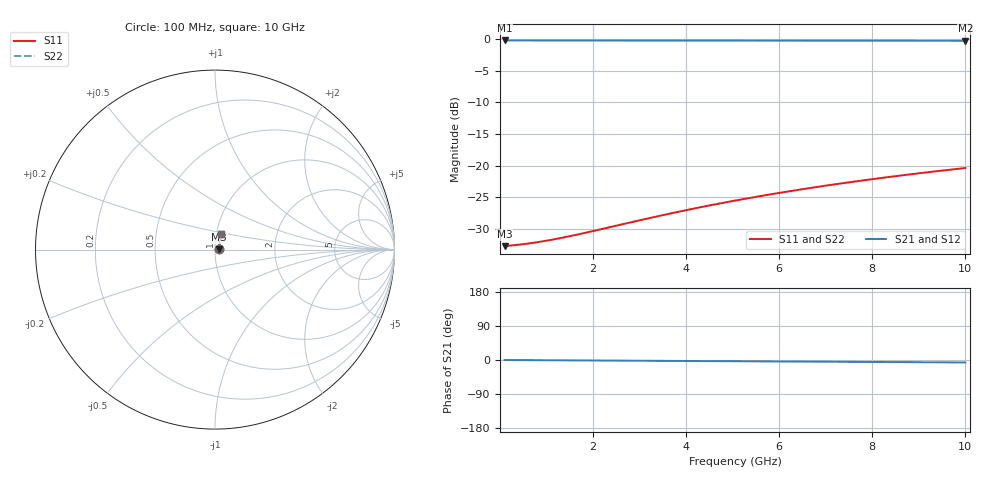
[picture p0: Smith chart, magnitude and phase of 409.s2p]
# Hz S RI R 50.00
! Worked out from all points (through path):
!   100 points, 100 MHz to 10 GHz, reference 50 ohm
!   highest |S21| = -0.20 dB at 100 MHz (marker M1); lowest = -0.3 dB at 10 GHz (marker M2)
!   lowest |S11| = -32.7 dB at 100 MHz (marker M3), VSWR 1.05, Z = 52.4 + j0.0949 ohm
!   |S11| at or under -10 dB: start of sweep to end of sweep
!   |S22| runs from -32.7 to -20.4 dB; largest |S21 - S12| = 0
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1e8  0.0231 0.000906  0.9769 -0.00111  0.9769 -0.00111  0.0231 0.000906
5e8  0.0235 0.00452  0.9765 -0.00553  0.9765 -0.00553  0.0235 0.00452
7e8  0.0237 0.00633  0.9763 -0.00774  0.9763 -0.00774  0.0237 0.00633
9e8  0.0238 0.00814  0.9762 -0.00995  0.9762 -0.00995  0.0238 0.00814
1.1e9  0.0239 0.00994  0.9761 -0.0122  0.9761 -0.0122  0.0239 0.00994
1.3e9  0.0241 0.0118  0.9759 -0.0144  0.9759 -0.0144  0.0241 0.0118
1.5e9  0.0242 0.0136  0.9758 -0.0166  0.9758 -0.0166  0.0242 0.0136
1.8e9  0.0244 0.0163  0.9756 -0.0199  0.9756 -0.0199  0.0244 0.0163
2.9e9  0.0251 0.0262  0.9748 -0.032  0.9748 -0.032  0.0251 0.0262
3.4e9  0.0255 0.0307  0.9744 -0.0375  0.9744 -0.0375  0.0255 0.0307
3.9e9  0.026 0.0352  0.974 -0.043  0.974 -0.043  0.026 0.0352
4.3e9  0.0264 0.0387  0.9736 -0.0474  0.9736 -0.0474  0.0264 0.0387
4.7e9  0.0268 0.0423  0.9732 -0.0518  0.9732 -0.0518  0.0268 0.0423
5.1e9  0.0272 0.0459  0.9727 -0.0562  0.9727 -0.0562  0.0272 0.0459
5.5e9  0.0277 0.0495  0.9722 -0.0606  0.9722 -0.0606  0.0277 0.0495
5.9e9  0.0282 0.053  0.9717 -0.065  0.9717 -0.065  0.0282 0.053
6.3e9  0.0288 0.0566  0.9712 -0.0693  0.9712 -0.0693  0.0288 0.0566
6.7e9  0.0293 0.0602  0.9706 -0.0737  0.9706 -0.0737  0.0293 0.0602
7.5e9  0.0305 0.0673  0.9693 -0.0824  0.9693 -0.0824  0.0305 0.0673
8.4e9  0.0321 0.0752  0.9678 -0.0922  0.9678 -0.0922  0.0321 0.0752
9.2e9  0.0336 0.0822  0.9663 -0.1008  0.9663 -0.1008  0.0336 0.0822
1e10  0.0352 0.0892  0.9646 -0.1094  0.9646 -0.1094  0.0352 0.0892
